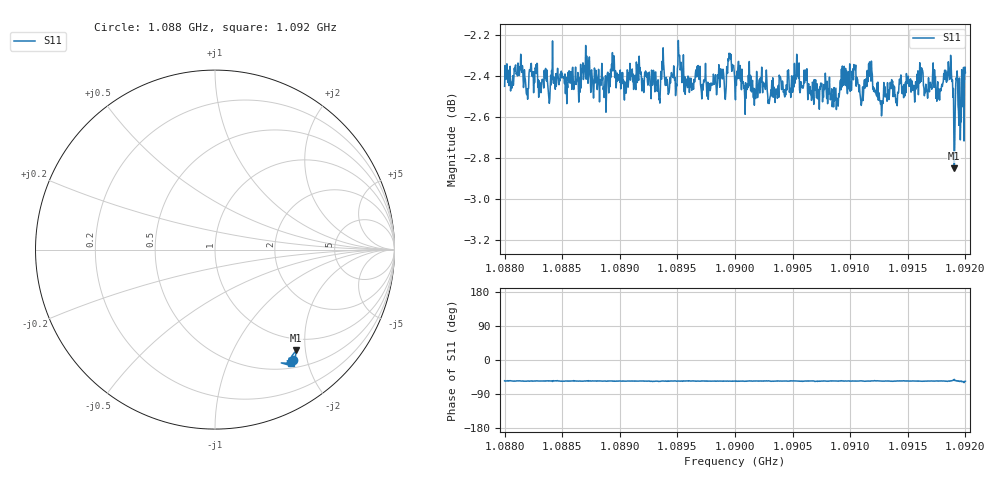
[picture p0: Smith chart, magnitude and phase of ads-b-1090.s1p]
! Calibrated averaged scanner-service zoom
# Hz S RI R 50
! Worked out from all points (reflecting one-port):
!   1001 points, 1.088 GHz to 1.092 GHz, reference 50 ohm
!   lowest |S11| = -2.8 dB at 1.0919 GHz (marker M1), VSWR 6.15, Z = 39.3 - j91.4 ohm
!   phase of S11 starts at -55 deg and turns -1 deg over the sweep
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1.088e9  0.4329 -0.6176
1.088124e9  0.4302 -0.6252
1.088184e9  0.4238 -0.6243
1.088444e9  0.4356 -0.6222
1.0885e9  0.4266 -0.6287
1.08872e9  0.4364 -0.6228
1.089e9  0.4306 -0.6212
1.089336e9  0.4143 -0.6281
1.08938e9  0.4331 -0.6292
1.0895e9  0.4286 -0.6298
1.09e9  0.4257 -0.6216
1.090272e9  0.4381 -0.6223
1.090328e9  0.4262 -0.6266
1.0905e9  0.4265 -0.6189
1.09058e9  0.4232 -0.6241
1.09066e9  0.4324 -0.6156
1.090712e9  0.4215 -0.6266
1.090848e9  0.4263 -0.6149
1.091e9  0.4234 -0.6216
1.091168e9  0.4333 -0.6299
1.091224e9  0.4307 -0.617
1.0915e9  0.4292 -0.6215
1.09162e9  0.4272 -0.631
1.091764e9  0.4218 -0.6188
1.091852e9  0.4318 -0.631
1.091904e9  0.4533 -0.5598
1.091968e9  0.4263 -0.6306
1.092e9  0.4227 -0.6316
